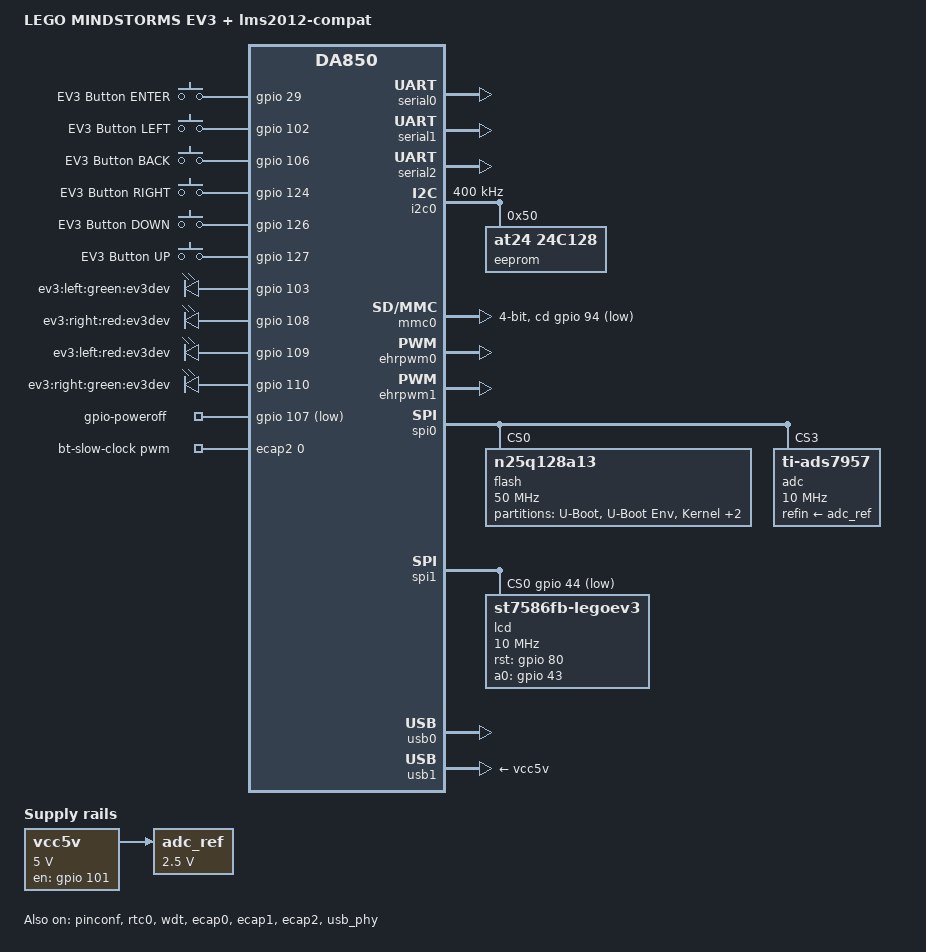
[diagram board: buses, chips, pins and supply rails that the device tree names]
/*
 * Device tree for LEGO MINDSTORMS EV3
 *
 * Copyright (C) 2016 David Lechner <david@lechnology.com>
 *
 * This program is free software; you can redistribute  it and/or modify it
 * under  the terms of  the GNU General  Public License as published by the
 * Free Software Foundation, version 2.
 */

/dts-v1/;
#include <dt-bindings/gpio/gpio.h>
#include <dt-bindings/input/linux-event-codes.h>
#include <dt-bindings/pwm/pwm.h>

#include "da850.dtsi"

/ {
	compatible = "lego,ev3", "ti,da850";
	model = "LEGO MINDSTORMS EV3 + lms2012-compat";

	/*
	 * The buttons on the EV3 are mapped to keyboard keys.
	 */
	gpio_keys {
		compatible = "gpio-keys";
		#address-cells = <1>;
		#size-cells = <0>;
		label = "EV3 buttons";
		pinctrl-names = "default";
		pinctrl-0 = <&button_pins>;

		enter {
			label = "EV3 Button ENTER";
			linux,code = <KEY_ENTER>;
			gpios = <&gpio 29 GPIO_ACTIVE_HIGH>;
		};
		left {
			label = "EV3 Button LEFT";
			linux,code = <KEY_LEFT>;
			gpios = <&gpio 102 GPIO_ACTIVE_HIGH>;
		};
		back {
			label = "EV3 Button BACK";
			linux,code = <KEY_BACKSPACE>;
			gpios = <&gpio 106 GPIO_ACTIVE_HIGH>;
		};
		right {
			label = "EV3 Button RIGHT";
			linux,code = <KEY_RIGHT>;
			gpios = <&gpio 124 GPIO_ACTIVE_HIGH>;
		};
		down {
			label = "EV3 Button DOWN";
			linux,code = <KEY_DOWN>;
			gpios = <&gpio 126 GPIO_ACTIVE_HIGH>;
		};
		up {
			label = "EV3 Button UP";
			linux,code = <KEY_UP>;
			gpios = <&gpio 127 GPIO_ACTIVE_HIGH>;
		};
	};

	/*
	 * The EV3 has two built-in bi-color LEDs behind the buttons.
	 */
	leds {
		compatible = "gpio-leds";
		pinctrl-names = "default";
		pinctrl-0 = <&led_pins>;

		left_green {
			label = "ev3:left:green:ev3dev";
			/* GP6[13] */
			gpios = <&gpio 103 GPIO_ACTIVE_HIGH>;
			linux,default-trigger = "mmc0";
		};
		right_red {
			label = "ev3:right:red:ev3dev";
			/* GP6[7] */
			gpios = <&gpio 108 GPIO_ACTIVE_HIGH>;
			linux,default-trigger = "mmc0";
		};
		left_red {
			label = "ev3:left:red:ev3dev";
			/* GP6[12] */
			gpios = <&gpio 109 GPIO_ACTIVE_HIGH>;
			linux,default-trigger = "mmc0";
		};
		right_green {
			label = "ev3:right:green:ev3dev";
			/* GP6[14] */
			gpios = <&gpio 110 GPIO_ACTIVE_HIGH>;
			linux,default-trigger = "mmc0";
		};
	};

	/*
	 * The EV3 is powered down by turning off the main 5V supply.
	 */
	gpio-poweroff {
		compatible = "gpio-poweroff";
		gpios = <&gpio 107 GPIO_ACTIVE_LOW>;
		pinctrl-names = "default";
		pinctrl-0 = <&system_power_pin>;
	};

	/*
	 * The Bluetooth chip requires a clock at 32768Hz. One of the PWMs
	 * is used to generate this signal.
	 */
	bt-slow-clock {
		compatible = "pwm-clock";
		#clock-cells = <0>;
		clock-frequency = <32768>;
		clock-output-names = "slow_clk";
		pwms = <&ecap2 0 30517>;
	};

	/*
	 * This is a 5V current limiting regulator that is shared by USB,
	 * the sensor (input) ports, the motor (output) ports and the ADC.
	 */
	vcc5v: regulator1 {
		pinctrl-names = "default";
		pinctrl-0 = <&vcc5v_pins>;
		compatible = "regulator-fixed";
		regulator-name = "vcc5v";
		regulator-min-microvolt = <5000000>;
		regulator-max-microvolt = <5000000>;
		gpio = <&gpio 101 0>;
		over-current-gpios = <&gpio 99 GPIO_ACTIVE_LOW>;
		enable-active-high;
		regulator-boot-on;
	};

	/*
	 * This is a simple voltage divider on VCC5V to provide a 2.5V
	 * reference signal to the ADC.
	 */
	adc_ref: regulator2 {
		compatible = "regulator-fixed";
		regulator-name = "adc_ref";
		regulator-min-microvolt = <2500000>;
		regulator-max-microvolt = <2500000>;
		regulator-boot-on;
		vin-supply = <&vcc5v>;
	};
};

&pmx_core {
	status = "okay";

	spi0_cs3_pin: pinmux_spi0_cs3_pin {
		pinctrl-single,bits = <
			/* CS3 */
			0xc 0x01000000 0x0f000000
		>;
	};
	spi1_lcd_pins: pinmux_spi1_lcd {
		pinctrl-single,bits = <
			/* SIMO, GP2[11], GP2[12], CLK */
			0x14 0x00188100 0x00ffff00
			/* GP5[0] */
			0x30 0x80000000 0xf0000000
		>;
	};
	mmc0_cd_pin: pinmux_mmc0_cd {
		pinctrl-single,bits = <
			/* GP5[14] */
			0x2C 0x00000080 0x000000f0
		>;
	};
	button_pins: pinmux_button_pins {
		pinctrl-single,bits = <
			/* GP1[13] */
			0x8 0x00000800 0x00000f00
			/* GP6[10] */
			0x34 0x00800000 0x00f00000
			/* GP6[6] */
			0x38 0x00000080 0x000000f0
			/* GP7[12], GP7[14], GP7[15] */
			0x40 0x00808800 0x00f0ff00
		>;
	};
	led_pins: pinmux_led_pins {
		pinctrl-single,bits = <
			/* GP6[12], GP6[13], GP6[14] */
			0x34 0x00008880 0x0000fff0
			/* GP6[7] */
			0x38 0x00000008 0x0000000f
		>;
	};
	system_power_pin: pinmux_system_power {
		pinctrl-single,bits = <
			/* GP6[11] */
			0x34 0x00080000 0x000f0000
		>;
	};
	vcc5v_pins: pinmux_vcc5v {
		pinctrl-single,bits = <
			/* GP6[5] */
			0x40 0x00000080 0x000000f0
			/* GP6[3] */
			0x4c 0x00008000 0x0000f000
		>;
	};
};

&pinconf {
	status = "okay";
	pinctrl-0 = <&pinconf_bias_groups>;
	pinctrl-names = "default";

	pinconf_bias_groups: bias-groups {
		disable {
			groups = "cp0", "cp1", "cp2", "cp3", "cp4", "cp5",
				 "cp6", "cp7", "cp8", "cp9", "cp10", "cp11",
				 "cp12", "cp13", "cp14", "cp15", "cp16", "cp17",
				 "cp18", "cp19", "cp20", "cp21", "cp22", "cp23",
				 "cp24", "cp25", "cp26", "cp27", "cp28", "cp29",
				 "cp30", "cp31";
			bias-disable;
		};
	};
};

/* Input port 2 */
&serial0 {
	status = "okay";
	pinctrl-names = "default";
	pinctrl-0 = <&serial0_rxtx_pins>;
};

/* Input port 1 */
&serial1 {
	status = "okay";
	pinctrl-names = "default";
	pinctrl-0 = <&serial1_rxtx_pins>;
};

/* Bluetooth */
&serial2 {
	status = "okay";
	auto-flow-control;
	pinctrl-names = "default";
	pinctrl-0 = <&serial2_rxtx_pins>, <&serial2_rtscts_pins>;
};

&rtc0 {
	status = "okay";
};

&i2c0 {
	status = "okay";
	clock-frequency = <400000>;
	pinctrl-names = "default";
	pinctrl-0 = <&i2c0_pins>;

	/*
	 * EEPROM contains the first stage bootloader, HW ID and Bluetooth MAC.
	 */
	eeprom@50 {
		compatible = "at24,24c128";
		pagesize = <64>;
		read-only;
		reg = <0x50>;
	};
};

&wdt {
	status = "okay";
};

&mmc0 {
	status = "okay";
	max-frequency = <50000000>;
	bus-width = <4>;
	cd-gpios = <&gpio 94 GPIO_ACTIVE_LOW>;
	pinctrl-names = "default";
	pinctrl-0 = <&mmc0_pins>, <&mmc0_cd_pin>;
};

&ehrpwm0 {
	status = "okay";
	pinctrl-names = "default";
	/* SOUND_ARMA */
	pinctrl-0 = <&ehrpwm0b_pins>;
};

&ehrpwm1 {
	status = "okay";
	pinctrl-names = "default";
	/* MBPWM, MAPWM */
	pinctrl-0 = <&ehrpwm1a_pins>, <&ehrpwm1b_pins>;
};

&ecap0 {
	status = "okay";
	pinctrl-names = "default";
	/* MCPWM */
	pinctrl-0 = <&ecap0_pins>;
};

&ecap1 {
	status = "okay";
	pinctrl-names = "default";
	/* MDPWM */
	pinctrl-0 = <&ecap1_pins>;
};

&ecap2 {
	status = "okay";
	pinctrl-names = "default";
	/* BTSLOWCLK */
	pinctrl-0 = <&ecap2_pins>;
};

&spi0 {
	status = "okay";
	pinctrl-names = "default";
	pinctrl-0 = <&spi0_pins>, <&spi0_cs0_pin>, <&spi0_cs3_pin>;

	flash@0 {
		#address-cells = <1>;
		#size-cells = <1>;
		compatible = "n25q128a13", "jedec,spi-nor";
		reg = <0>;
		spi-max-frequency = <50000000>;
		ti,spi-wdelay = <8>;

		partition@0 {
			label = "U-Boot";
			reg = <0 0x40000>;
		};

		partition@40000 {
			label = "U-Boot Env";
			reg = <0x40000 0x10000>;
		};

		partition@50000 {
			label = "Kernel";
			reg = <0x50000 0x200000>;
		};

		partition@250000 {
			label = "Filesystem";
			reg = <0x250000 0xa50000>;
		};

		partition@cb0000 {
			label = "Storage";
			reg = <0xcb0000 0x2f0000>;
		};
	};

	adc@3 {
		compatible = "ti-ads7957";
		reg = <3>;
		spi-max-frequency = <10000000>;
		refin-supply = <&adc_ref>;
	};
};

&spi1 {
	status = "okay";
	pinctrl-names = "default";
	pinctrl-0 = <&spi1_lcd_pins>;
	cs-gpios = <&gpio 44 GPIO_ACTIVE_LOW>;

	lcd@0 {
		compatible = "st7586fb-legoev3";
		reg = <0>;
		spi-max-frequency = <10000000>;
		rst-gpios = <&gpio 80 GPIO_ACTIVE_HIGH>;
		a0-gpios = <&gpio 43 GPIO_ACTIVE_HIGH>;
	};
};

&gpio {
	status = "okay";
};

&usb_phy {
	status = "okay";
};

&usb0 {
	status = "okay";
};

&usb1 {
	status = "okay";
	vbus-supply = <&vcc5v>;
};
